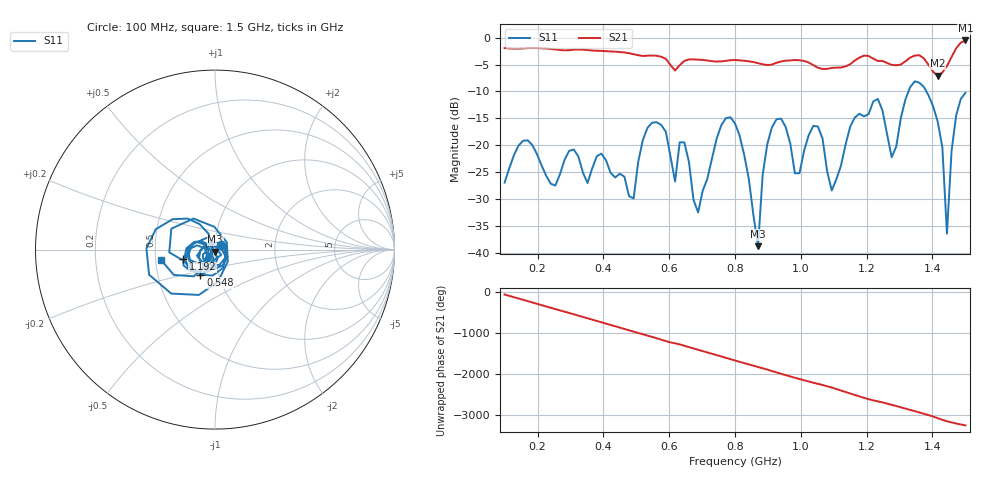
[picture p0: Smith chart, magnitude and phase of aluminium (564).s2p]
! NanoVNA-App
! Date: 2025-09-25 14:59:40
! Start: 100MHz Stop: 1,5GHz Points: 101
! S-Parameter data: F S11 S21 S12 S22
# Hz S RI R 50
!  Frequency  S11_Real  S11_Imag  S21_Real  S21_Imag  S12_Real  S12_Imag  S22_Real  S22_Imag
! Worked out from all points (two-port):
!   101 points, 100 MHz to 1.5 GHz, reference 50 ohm
!   highest |S21| = -0.50 dB at 1.5 GHz (marker M1); lowest = -7.1 dB at 1.416 GHz (marker M2)
!   |S21| within 3 dB of the highest: start of sweep to 573.7 MHz; 1.459 GHz to end of sweep (the widest 2 of 4)
!   lowest |S11| = -38.8 dB at 870 MHz (marker M3), VSWR 1.02, Z = 50.2 - j1.14 ohm
!   |S11| at or under -10 dB: start of sweep to 1.327 GHz; 1.382 GHz to end of sweep
!   S12 and S22 are empty: the file has one direction only
!   S11 on the Smith chart (normalised r, x): 100 MHz: 1.07, +0.06; 548 MHz: 0.82, -0.24; 1.192 GHz: 0.70, -0.08; 1.5 GHz: 0.53, -0.07
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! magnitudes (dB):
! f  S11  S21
! 100 MHz  -27.0  -1.9
! 156 MHz  -19.2  -2.0
! 338 MHz  -25.1  -2.2
! 492 MHz  -29.9  -3.1
! 548 MHz  -15.8  -3.3
! 576 MHz  -16.2  -3.5
! 646 MHz  -19.5  -4.3
! 688 MHz  -32.5  -4.1
! 800 MHz  -15.9  -4.1
! 870 MHz  -38.8  -4.7
! 912 MHz  -16.7  -5.0
! 996 MHz  -25.2  -4.2
! 1.038 GHz  -16.4  -5.1
! 1.094 GHz  -28.4  -5.6
! 1.192 GHz  -14.6  -3.3
! 1.234 GHz  -11.4  -4.3
! 1.276 GHz  -22.2  -5.0
! 1.346 GHz  -8.1  -3.3
! 1.416 GHz  -15.6  -7.1
! 1.444 GHz  -36.5  -5.2
! 1.472 GHz  -14.4  -2.0
! 1.5 GHz  -10.3  -0.5
